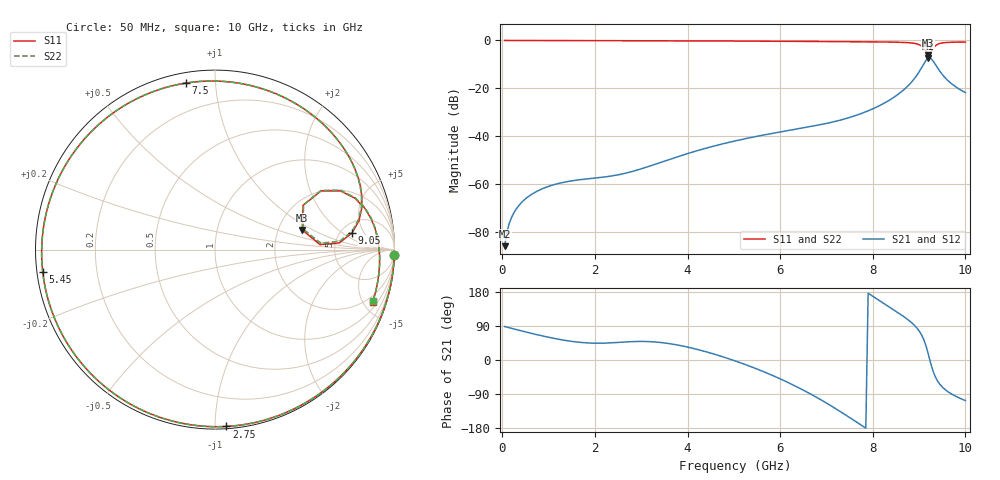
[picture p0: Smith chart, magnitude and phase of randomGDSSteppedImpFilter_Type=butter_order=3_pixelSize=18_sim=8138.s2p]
! freq	dB(S11)	phase(S11)	dB(S12)	phase(S12)
!  dB(S21)	phase(S21)	dB(S22)	phase(S22)
!S-par simulation data
#  GHz  S  DB  R 50
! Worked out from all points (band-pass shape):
!   200 points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, 50 MHz to 10 GHz, reference 50 ohm
!   highest |S21| = -7.30 dB at 9.2 GHz (marker M1); lowest = -86.0 dB at 50 MHz (marker M2)
!   |S21| within 3 dB of the highest: 9.087 GHz to 9.36 GHz (273.4 MHz wide, 2.96 % of centre)
!   lowest |S11| = -6.0 dB at 9.2 GHz (marker M3), VSWR 2.99, Z = 136 + j39.6 ohm
!   |S11| at or under -10 dB: nowhere
!   |S22| runs from -6.0 to 0.0 dB; largest |S21 - S12| = 0
!   S11 on the Smith chart (normalised r, x): 50 MHz: 1, -70; 2.75 GHz: 0.01, -1.07; 5.45 GHz: 0.02, -0.06; 7.5 GHz: 0.05, +0.84; 9.05 GHz: 6.33, +2.90; 10 GHz: 1.43, -5.83
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0.05  -0.00 -1.6  -85.95 88.3  -85.95 88.3  -0.00 -1.6
0.1  -0.01 -3.2  -79.94 86.7  -79.94 86.7  -0.01 -3.2
0.3  -0.01 -9.7  -70.46 80.4  -70.46 80.4  -0.01 -9.7
0.6  -0.02 -19.3  -64.72 71.2  -64.72 71.2  -0.02 -19.3
1.75  -0.07 -55.6  -58.01 45.8  -58.01 45.8  -0.07 -55.5
2.75  -0.11 -86.3  -55.04 48.2  -55.04 48.2  -0.11 -86.3
3.4  -0.14 -106.2  -51.07 46.4  -51.07 46.4  -0.14 -106.2
4.2  -0.19 -131.0  -46.10 28.2  -46.10 28.2  -0.19 -131.0
5.05  -0.25 -158.7  -41.88 -3.3  -41.88 -3.3  -0.25 -158.6
5.45  -0.28 -172.7  -40.24 -21.4  -40.24 -21.4  -0.28 -172.5
6.1  -0.35 162.9  -37.91 -55.3  -37.91 -55.3  -0.35 163.1
6.7  -0.42 137.9  -35.83 -92.6  -35.83 -92.6  -0.42 138.1
7.5  -0.52 100.0  -32.18 -151.8  -32.18 -151.8  -0.52 100.3
7.95  -0.58 76.4  -29.00 172.3  -29.00 172.3  -0.58 76.8
8.35  -0.67 54.2  -25.05 140.6  -25.05 140.6  -0.67 54.7
8.8  -0.98 26.7  -18.18 102.4  -18.18 102.4  -0.98 27.2
9.05  -2.27 7.0  -11.54 67.2  -11.54 67.2  -2.25 7.6
9.15  -4.65 2.7  -8.28 37.2  -8.28 37.2  -4.59 3.5
9.2  -6.05 12.7  -7.30 15.3  -7.30 15.3  -5.96 13.2
9.35  -2.25 25.0  -10.00 -44.3  -10.00 -44.3  -2.23 25.3
9.6  -0.84 3.9  -16.34 -81.7  -16.34 -81.7  -0.83 4.3
10  -0.67 -18.4  -21.79 -107.0  -21.79 -107.0  -0.67 -18.0
